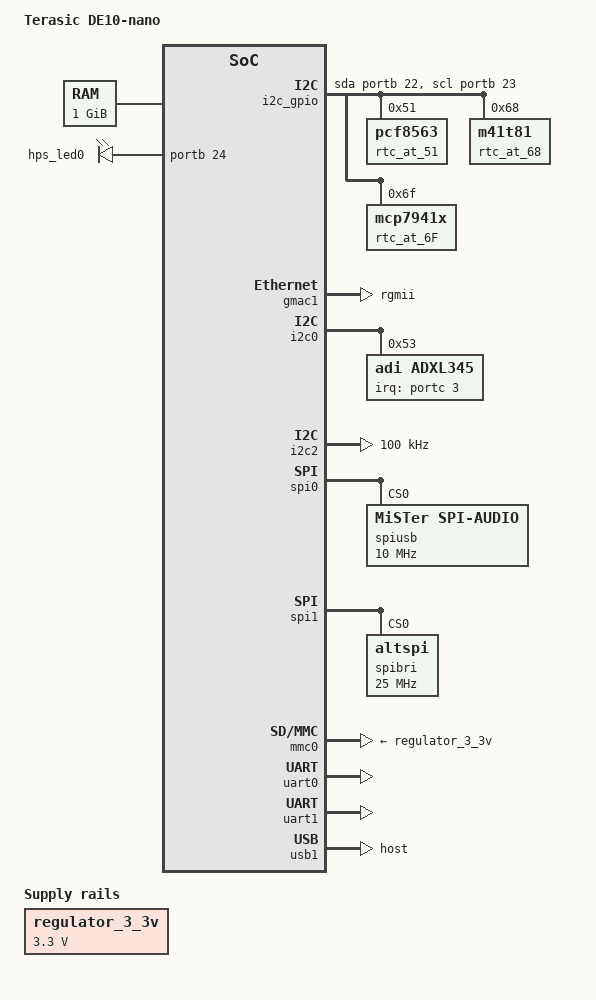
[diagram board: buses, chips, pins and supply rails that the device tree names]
/*
 * Copyright Altera Corporation (C) 2015. All rights reserved.
 *
 * This program is free software; you can redistribute it and/or modify
 * it under the terms and conditions of the GNU General Public License,
 * version 2, as published by the Free Software Foundation.
 *
 * This program is distributed in the hope it will be useful, but WITHOUT
 * ANY WARRANTY; without even the implied warranty of MERCHANTABILITY or
 * FITNESS FOR A PARTICULAR PURPOSE.  See the GNU General Public License for
 * more details.
 *
 * You should have received a copy of the GNU General Public License along with
 * this program.  If not, see <http://www.gnu.org/licenses/>.
 */

#include "socfpga_cyclone5.dtsi"
#include <dt-bindings/gpio/gpio.h>
#include <dt-bindings/interrupt-controller/irq.h>

/ {
	model = "Terasic DE10-nano";
	compatible = "terasic,de10-nano", "altr,socfpga-cyclone5", "altr,socfpga";

	chosen {
		bootargs = "earlyprintk";
		stdout-path = "serial0:115200n8";
	};

	memory {
		name = "memory";
		device_type = "memory";
		reg = <0x0 0x40000000>; /* 1GB */
	};

	aliases {
		ethernet0 = &gmac1;
	};

	regulator_3_3v: 3-3-v-regulator {
		compatible = "regulator-fixed";
		regulator-name = "3.3V";
		regulator-min-microvolt = <3300000>;
		regulator-max-microvolt = <3300000>;
	};

	leds {
		compatible = "gpio-leds";
		hps0 {
			label = "hps_led0";
			gpios = <&portb 24 0>;
			linux,default-trigger = "mmc0";
		};
	};

/*
	ltcmode {
		compatible = "gpio-leds";
		ltcsw {
			label = "ltc_sw";
			gpios = <&portb 11 0>;
			default-state = "off";
		};
	};
*/

	i2c_gpio {
		#address-cells = <1>;
		#size-cells = <0>;
		compatible = "i2c-gpio";
		gpios = <&portb 22 (GPIO_ACTIVE_HIGH|GPIO_OPEN_DRAIN)
                         &portb 23 (GPIO_ACTIVE_HIGH|GPIO_OPEN_DRAIN)>;
		i2c-gpio,delay-us = <2>;

		rtc_at_51 {
			compatible = "pcf8563";
			reg = <0x51>;
		};
		rtc_at_68 {
		        compatible = "m41t81";
		        reg = <0x68>;
		};
		rtc_at_6F {
		        compatible = "mcp7941x";
		        reg = <0x6F>;
		};
	};

	MiSTer_fb {
		compatible = "MiSTer_fb";
		reg = <0x22000000 0x800000>;
		interrupt-parent = <&intc>;
		interrupts = < 0 40 1 >;
	};
};

&gmac1 {
	status = "okay";
	phy-mode = "rgmii";

	txd0-skew-ps = <0>; /* -420ps */
	txd1-skew-ps = <0>; /* -420ps */
	txd2-skew-ps = <0>; /* -420ps */
	txd3-skew-ps = <0>; /* -420ps */
	rxd0-skew-ps = <420>; /* 0ps */
	rxd1-skew-ps = <420>; /* 0ps */
	rxd2-skew-ps = <420>; /* 0ps */
	rxd3-skew-ps = <420>; /* 0ps */
	txen-skew-ps = <0>; /* -420ps */
	txc-skew-ps = <1860>; /* 960ps */
	rxdv-skew-ps = <420>; /* 0ps */
	rxc-skew-ps = <1680>; /* 780ps */

	max-frame-size = <3800>;
};

&gpio0 {
	status = "okay";
};

&gpio1 {
	status = "okay";
};

&gpio2 {
	status = "okay";
};

&i2c0 {
	status = "okay";
	speed-mode = <0>;

	adxl345: adxl345@53 {
		compatible = "adi,adxl345";
		reg = <0x53>;

		interrupt-parent = <&portc>;
		interrupts = <3 2>;
	};
};

&i2c2 {
	status = "okay";
	clock-frequency = <100000>;
	speed-mode = <0>;
};

&spi0 {
	status = "okay";
	timeouts = <3>;
	spiusb@0 {
		compatible = "MiSTer,spi-audio";
		reg = <0>;
		spi-max-frequency = <10000000>;
		spi-cpha;
		spi-cpol;
		status = "okay";
	};
};

&spi1 {
	status = "okay";
	timeouts = <3>;
	spibri@0 {
		status = "okay";
		compatible = "altspi";
		spi-max-frequency = <25000000>;
		reg = <0>;
	};
};

&mmc0 {
	vmmc-supply = <&regulator_3_3v>;
	vqmmc-supply = <&regulator_3_3v>;
	status = "okay";
};

&uart0 {
	/delete-property/dmas;
	/delete-property/dma-names;
	status = "okay";
};

&uart1 {
	/delete-property/dmas;
	/delete-property/dma-names;
	status = "okay";
};

&usb1 {
	disable-over-current;
	dr_mode = "host";
	status = "okay";
};

&fpga_bridge0 {
	status = "okay";
};

&fpga_bridge1 {
	status = "okay";
};

&fpga_bridge2 {
	status = "okay";
};

&ocram {
	#address-cells = <1>;
	#size-cells = <1>;
	ranges = <0 0xffff0000 0x10000>;

	flags-sram@f000 {
		reg = <0xf000 0x1000>;
	};
};

/* MiSTer HPS<->FPGA interface */
/ {
	/* FPGA-shared DDR, kept from the kernel by the DTB, not only mem=511M. */
	reserved-memory {
		#address-cells = <1>;
		#size-cells = <1>;
		ranges;

		mister_ddr_low: mister-ddr-low@1ff00000 {
			reg = <0x1ff00000 0x000ff000>;
			no-map;
		};

		mister_handoff: mister-handoff@1ffff000 {
			reg = <0x1ffff000 0x00001000>;
			no-map;
		};

		mister_scaler: mister-scaler@20000000 {
			reg = <0x20000000 0x01800000>;
			no-map;
		};

		mister_core_lo: mister-core@21800000 {
			reg = <0x21800000 0x00800000>;
			no-map;
		};

		/* Upper 16 MiB shared: SS20 PROM/RAM; stock SNES/SGB MSU, menu bg. */
		mister_fb_mem: mister-fb@22000000 {
			reg = <0x22000000 0x01800000>;
			no-map;
		};

		mister_core_hi: mister-core@23800000 {
			reg = <0x23800000 0x1c800000>;
			no-map;
		};
	};

	MiSTer_fb {
		memory-region = <&mister_fb_mem>;
	};

	/* Map-only UIO nodes, uio name mister_<name>; MAP_SHARED only. */
	mister {
		compatible = "simple-mfd";
		#address-cells = <1>;
		#size-cells = <1>;
		ranges;

		/* H-1: an undecoded offset hangs the SoC; touch only declared offsets. */
		lw-bridge@ff200000 {
			compatible = "generic-uio";
			linux,uio-name = "mister_lw_bridge";
			reg = <0xff200000 0x00200000>;
		};

		/* H-1: no published core decodes any offset of this window. */
		h2f-bridge@c0000000 {
			compatible = "generic-uio";
			linux,uio-name = "mister_h2f_bridge";
			reg = <0xc0000000 0x3c000000>;
		};

		/* Shared with fpgamgr0; GPO +0x10, GPI +0x14. */
		fpga-mgr@ff706000 {
			compatible = "generic-uio";
			linux,uio-name = "mister_fpga_mgr";
			reg = <0xff706000 0x00001000>;
		};

		ddr-aperture@20000000 {
			compatible = "generic-uio";
			linux,uio-name = "mister_ddr_aperture";
			reg = <0x20000000 0x20000000>;
			mister,map-writecombine;
		};

		ddr-low@1ff00000 {
			compatible = "generic-uio";
			linux,uio-name = "mister_ddr_low";
			reg = <0x1ff00000 0x000ff000>,
			      <0x1ffff000 0x00001000>;
		};

		/* Warm boot runs the SPL image at +0: clear warmramgrp.enable before a store. */
		ocram@ffff0000 {
			compatible = "generic-uio";
			linux,uio-name = "mister_ocram";
			reg = <0xffff0000 0x0000f000>;
		};

		/* f2h_irq[N] = GIC SPI 40+N; N=0 is MiSTer_fb's vsync. */
		fabric-irqs {
			compatible = "simple-mfd";
			interrupt-parent = <&intc>;

			f2h-irq1 {
				compatible = "generic-uio";
				linux,uio-name = "mister_f2h_irq1";
				interrupts = <0 41 IRQ_TYPE_EDGE_RISING>;	/* video_sync, a pulse */
			};

			f2h-irq2 {
				compatible = "generic-uio";
				linux,uio-name = "mister_f2h_irq2";
				interrupts = <0 42 IRQ_TYPE_LEVEL_HIGH>;
			};

			f2h-irq3 {
				compatible = "generic-uio";
				linux,uio-name = "mister_f2h_irq3";
				interrupts = <0 43 IRQ_TYPE_LEVEL_HIGH>;
			};

			f2h-irq4 {
				compatible = "generic-uio";
				linux,uio-name = "mister_f2h_irq4";
				interrupts = <0 44 IRQ_TYPE_LEVEL_HIGH>;
			};

			f2h-irq5 {
				compatible = "generic-uio";
				linux,uio-name = "mister_f2h_irq5";
				interrupts = <0 45 IRQ_TYPE_LEVEL_HIGH>;
			};

			f2h-irq6 {
				compatible = "generic-uio";
				linux,uio-name = "mister_f2h_irq6";
				interrupts = <0 46 IRQ_TYPE_LEVEL_HIGH>;
			};

			f2h-irq7 {
				compatible = "generic-uio";
				linux,uio-name = "mister_f2h_irq7";
				interrupts = <0 47 IRQ_TYPE_LEVEL_HIGH>;
			};

			f2h-irq8 {
				compatible = "generic-uio";
				linux,uio-name = "mister_f2h_irq8";
				interrupts = <0 48 IRQ_TYPE_LEVEL_HIGH>;
			};

			f2h-irq9 {
				compatible = "generic-uio";
				linux,uio-name = "mister_f2h_irq9";
				interrupts = <0 49 IRQ_TYPE_LEVEL_HIGH>;
			};

			f2h-irq10 {
				compatible = "generic-uio";
				linux,uio-name = "mister_f2h_irq10";
				interrupts = <0 50 IRQ_TYPE_LEVEL_HIGH>;
			};

			f2h-irq11 {
				compatible = "generic-uio";
				linux,uio-name = "mister_f2h_irq11";
				interrupts = <0 51 IRQ_TYPE_LEVEL_HIGH>;
			};

			f2h-irq12 {
				compatible = "generic-uio";
				linux,uio-name = "mister_f2h_irq12";
				interrupts = <0 52 IRQ_TYPE_LEVEL_HIGH>;
			};

			f2h-irq13 {
				compatible = "generic-uio";
				linux,uio-name = "mister_f2h_irq13";
				interrupts = <0 53 IRQ_TYPE_LEVEL_HIGH>;
			};

			f2h-irq14 {
				compatible = "generic-uio";
				linux,uio-name = "mister_f2h_irq14";
				interrupts = <0 54 IRQ_TYPE_LEVEL_HIGH>;
			};

			f2h-irq15 {
				compatible = "generic-uio";
				linux,uio-name = "mister_f2h_irq15";
				interrupts = <0 55 IRQ_TYPE_LEVEL_HIGH>;
			};

			f2h-irq16 {
				compatible = "generic-uio";
				linux,uio-name = "mister_f2h_irq16";
				interrupts = <0 56 IRQ_TYPE_LEVEL_HIGH>;
			};

			f2h-irq17 {
				compatible = "generic-uio";
				linux,uio-name = "mister_f2h_irq17";
				interrupts = <0 57 IRQ_TYPE_LEVEL_HIGH>;
			};

			f2h-irq18 {
				compatible = "generic-uio";
				linux,uio-name = "mister_f2h_irq18";
				interrupts = <0 58 IRQ_TYPE_LEVEL_HIGH>;
			};

			f2h-irq19 {
				compatible = "generic-uio";
				linux,uio-name = "mister_f2h_irq19";
				interrupts = <0 59 IRQ_TYPE_LEVEL_HIGH>;
			};

			f2h-irq20 {
				compatible = "generic-uio";
				linux,uio-name = "mister_f2h_irq20";
				interrupts = <0 60 IRQ_TYPE_LEVEL_HIGH>;
			};

			f2h-irq21 {
				compatible = "generic-uio";
				linux,uio-name = "mister_f2h_irq21";
				interrupts = <0 61 IRQ_TYPE_LEVEL_HIGH>;
			};

			f2h-irq22 {
				compatible = "generic-uio";
				linux,uio-name = "mister_f2h_irq22";
				interrupts = <0 62 IRQ_TYPE_LEVEL_HIGH>;
			};

			f2h-irq23 {
				compatible = "generic-uio";
				linux,uio-name = "mister_f2h_irq23";
				interrupts = <0 63 IRQ_TYPE_LEVEL_HIGH>;
			};

			f2h-irq24 {
				compatible = "generic-uio";
				linux,uio-name = "mister_f2h_irq24";
				interrupts = <0 64 IRQ_TYPE_LEVEL_HIGH>;
			};

			f2h-irq25 {
				compatible = "generic-uio";
				linux,uio-name = "mister_f2h_irq25";
				interrupts = <0 65 IRQ_TYPE_LEVEL_HIGH>;
			};

			f2h-irq26 {
				compatible = "generic-uio";
				linux,uio-name = "mister_f2h_irq26";
				interrupts = <0 66 IRQ_TYPE_LEVEL_HIGH>;
			};

			f2h-irq27 {
				compatible = "generic-uio";
				linux,uio-name = "mister_f2h_irq27";
				interrupts = <0 67 IRQ_TYPE_LEVEL_HIGH>;
			};

			f2h-irq28 {
				compatible = "generic-uio";
				linux,uio-name = "mister_f2h_irq28";
				interrupts = <0 68 IRQ_TYPE_LEVEL_HIGH>;
			};

			f2h-irq29 {
				compatible = "generic-uio";
				linux,uio-name = "mister_f2h_irq29";
				interrupts = <0 69 IRQ_TYPE_LEVEL_HIGH>;
			};

			f2h-irq30 {
				compatible = "generic-uio";
				linux,uio-name = "mister_f2h_irq30";
				interrupts = <0 70 IRQ_TYPE_LEVEL_HIGH>;
			};

			f2h-irq31 {
				compatible = "generic-uio";
				linux,uio-name = "mister_f2h_irq31";
				interrupts = <0 71 IRQ_TYPE_LEVEL_HIGH>;
			};

			f2h-irq32 {
				compatible = "generic-uio";
				linux,uio-name = "mister_f2h_irq32";
				interrupts = <0 72 IRQ_TYPE_LEVEL_HIGH>;
			};

			f2h-irq33 {
				compatible = "generic-uio";
				linux,uio-name = "mister_f2h_irq33";
				interrupts = <0 73 IRQ_TYPE_LEVEL_HIGH>;
			};

			f2h-irq34 {
				compatible = "generic-uio";
				linux,uio-name = "mister_f2h_irq34";
				interrupts = <0 74 IRQ_TYPE_LEVEL_HIGH>;
			};

			f2h-irq35 {
				compatible = "generic-uio";
				linux,uio-name = "mister_f2h_irq35";
				interrupts = <0 75 IRQ_TYPE_LEVEL_HIGH>;
			};

			f2h-irq36 {
				compatible = "generic-uio";
				linux,uio-name = "mister_f2h_irq36";
				interrupts = <0 76 IRQ_TYPE_LEVEL_HIGH>;
			};

			f2h-irq37 {
				compatible = "generic-uio";
				linux,uio-name = "mister_f2h_irq37";
				interrupts = <0 77 IRQ_TYPE_LEVEL_HIGH>;
			};

			f2h-irq38 {
				compatible = "generic-uio";
				linux,uio-name = "mister_f2h_irq38";
				interrupts = <0 78 IRQ_TYPE_LEVEL_HIGH>;
			};

			f2h-irq39 {
				compatible = "generic-uio";
				linux,uio-name = "mister_f2h_irq39";
				interrupts = <0 79 IRQ_TYPE_LEVEL_HIGH>;
			};

			f2h-irq40 {
				compatible = "generic-uio";
				linux,uio-name = "mister_f2h_irq40";
				interrupts = <0 80 IRQ_TYPE_LEVEL_HIGH>;
			};

			f2h-irq41 {
				compatible = "generic-uio";
				linux,uio-name = "mister_f2h_irq41";
				interrupts = <0 81 IRQ_TYPE_LEVEL_HIGH>;
			};

			f2h-irq42 {
				compatible = "generic-uio";
				linux,uio-name = "mister_f2h_irq42";
				interrupts = <0 82 IRQ_TYPE_LEVEL_HIGH>;
			};

			f2h-irq43 {
				compatible = "generic-uio";
				linux,uio-name = "mister_f2h_irq43";
				interrupts = <0 83 IRQ_TYPE_LEVEL_HIGH>;
			};

			f2h-irq44 {
				compatible = "generic-uio";
				linux,uio-name = "mister_f2h_irq44";
				interrupts = <0 84 IRQ_TYPE_LEVEL_HIGH>;
			};

			f2h-irq45 {
				compatible = "generic-uio";
				linux,uio-name = "mister_f2h_irq45";
				interrupts = <0 85 IRQ_TYPE_LEVEL_HIGH>;
			};

			f2h-irq46 {
				compatible = "generic-uio";
				linux,uio-name = "mister_f2h_irq46";
				interrupts = <0 86 IRQ_TYPE_LEVEL_HIGH>;
			};

			f2h-irq47 {
				compatible = "generic-uio";
				linux,uio-name = "mister_f2h_irq47";
				interrupts = <0 87 IRQ_TYPE_LEVEL_HIGH>;
			};

			f2h-irq48 {
				compatible = "generic-uio";
				linux,uio-name = "mister_f2h_irq48";
				interrupts = <0 88 IRQ_TYPE_LEVEL_HIGH>;
			};

			f2h-irq49 {
				compatible = "generic-uio";
				linux,uio-name = "mister_f2h_irq49";
				interrupts = <0 89 IRQ_TYPE_LEVEL_HIGH>;
			};

			f2h-irq50 {
				compatible = "generic-uio";
				linux,uio-name = "mister_f2h_irq50";
				interrupts = <0 90 IRQ_TYPE_LEVEL_HIGH>;
			};

			f2h-irq51 {
				compatible = "generic-uio";
				linux,uio-name = "mister_f2h_irq51";
				interrupts = <0 91 IRQ_TYPE_LEVEL_HIGH>;
			};

			f2h-irq52 {
				compatible = "generic-uio";
				linux,uio-name = "mister_f2h_irq52";
				interrupts = <0 92 IRQ_TYPE_LEVEL_HIGH>;
			};

			f2h-irq53 {
				compatible = "generic-uio";
				linux,uio-name = "mister_f2h_irq53";
				interrupts = <0 93 IRQ_TYPE_LEVEL_HIGH>;
			};

			f2h-irq54 {
				compatible = "generic-uio";
				linux,uio-name = "mister_f2h_irq54";
				interrupts = <0 94 IRQ_TYPE_LEVEL_HIGH>;
			};

			f2h-irq55 {
				compatible = "generic-uio";
				linux,uio-name = "mister_f2h_irq55";
				interrupts = <0 95 IRQ_TYPE_LEVEL_HIGH>;
			};

			f2h-irq56 {
				compatible = "generic-uio";
				linux,uio-name = "mister_f2h_irq56";
				interrupts = <0 96 IRQ_TYPE_LEVEL_HIGH>;
			};

			f2h-irq57 {
				compatible = "generic-uio";
				linux,uio-name = "mister_f2h_irq57";
				interrupts = <0 97 IRQ_TYPE_LEVEL_HIGH>;
			};

			f2h-irq58 {
				compatible = "generic-uio";
				linux,uio-name = "mister_f2h_irq58";
				interrupts = <0 98 IRQ_TYPE_LEVEL_HIGH>;
			};

			f2h-irq59 {
				compatible = "generic-uio";
				linux,uio-name = "mister_f2h_irq59";
				interrupts = <0 99 IRQ_TYPE_LEVEL_HIGH>;
			};

			f2h-irq60 {
				compatible = "generic-uio";
				linux,uio-name = "mister_f2h_irq60";
				interrupts = <0 100 IRQ_TYPE_LEVEL_HIGH>;
			};

			f2h-irq61 {
				compatible = "generic-uio";
				linux,uio-name = "mister_f2h_irq61";
				interrupts = <0 101 IRQ_TYPE_LEVEL_HIGH>;
			};

			f2h-irq62 {
				compatible = "generic-uio";
				linux,uio-name = "mister_f2h_irq62";
				interrupts = <0 102 IRQ_TYPE_LEVEL_HIGH>;
			};

			f2h-irq63 {
				compatible = "generic-uio";
				linux,uio-name = "mister_f2h_irq63";
				interrupts = <0 103 IRQ_TYPE_LEVEL_HIGH>;
			};
		};
	};
};

/* OCRAM below flags-sram is mister_ocram's: keep it out of the mmio-sram pool. */
&ocram {
	mister-ocram@0 {
		reg = <0x0 0xf000>;
	};
};
